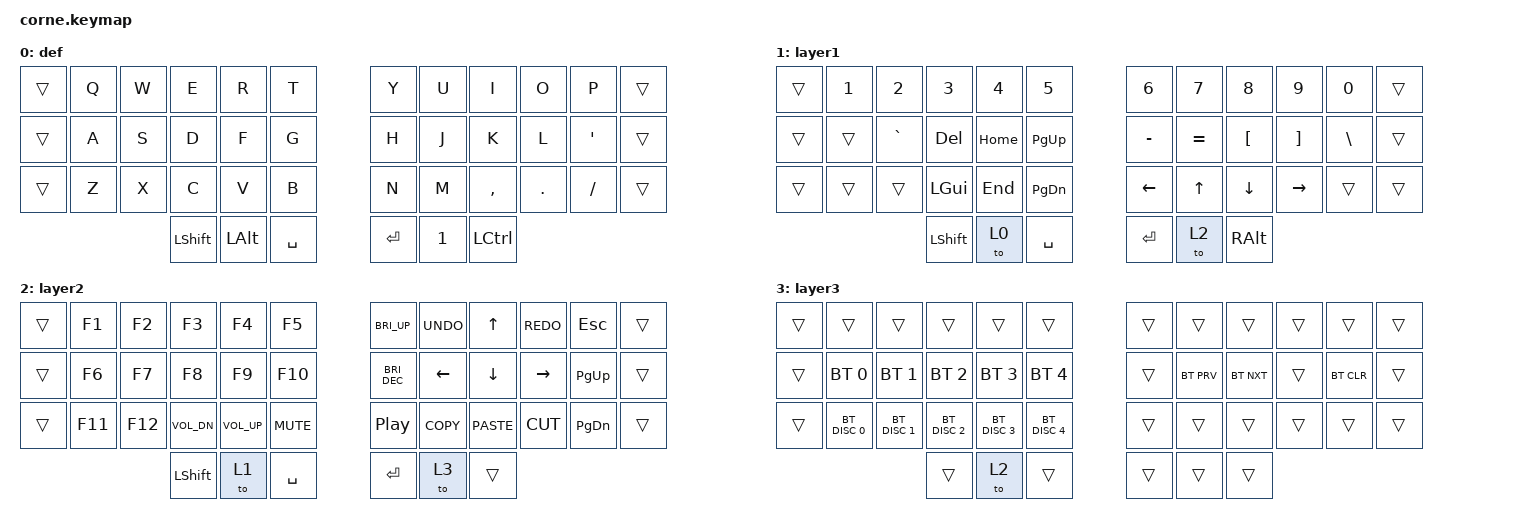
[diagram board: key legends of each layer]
/*
 * Copyright (c) 2020 The ZMK Contributors
 *
 * SPDX-License-Identifier: MIT
 */

#include <behaviors.dtsi>
#include <dt-bindings/zmk/bt.h>
#include <dt-bindings/zmk/keys.h>

/ {
    combos {
        compatible = "zmk,combos";

        esc {
            bindings = <&kp ESCAPE>;
            key-positions = <1 2>;
        };

        trab {
            bindings = <&kp TAB>;
            key-positions = <13 14>;
        };

        back {
            bindings = <&kp BACKSPACE>;
            key-positions = <9 10>;
        };
    };

    keymap {
        compatible = "zmk,keymap";

        def {
            // -----------------------------------------------------------------------------------------
            // |  TAB |  Q  |  W  |  E  |  R  |  T  |   |  Y  |  U   |  I  |  O  |  P  | BKSP |
            // | CTRL |  A  |  S  |  D  |  F  |  G  |   |  H  |  J   |  K  |  L  |  ;  |  '   |
            // | SHFT |  Z  |  X  |  C  |  V  |  B  |   |  N  |  M   |  ,  |  .  |  /  | ESC  |
            //                    | GUI | LWR | SPC |   | ENT | RSE  | ALT |

            bindings = <
&trans  &kp Q  &kp W  &kp E           &kp R         &kp T        &kp Y    &kp U         &kp I             &kp O    &kp P     &trans
&trans  &kp A  &kp S  &kp D           &kp F         &kp G        &kp H    &kp J         &kp K             &kp L    &kp APOS  &trans
&trans  &kp Z  &kp X  &kp C           &kp V         &kp B        &kp N    &kp M         &kp COMMA         &kp DOT  &kp FSLH  &trans
                      &kp LEFT_SHIFT  &kp LEFT_ALT  &kp SPACE    &kp RET  &kp NUMBER_1  &kp LEFT_CONTROL
            >;
        };

        layer1 {
            // -----------------------------------------------------------------------------------------
            // |  TAB |  !  |  @  |  #  |  $  |  %  |   |  ^  |  &  |  *  |  (  |  )  | BKSP |
            // | CTRL |     |     |     |     |     |   |  -  |  =  |  [  |  ]  |  \  |  `   |
            // | SHFT |     |     |     |     |     |   |  _  |  +  |  {  |  }  | "|" |  ~   |
            //                    | GUI |     | SPC |   | ENT |     | ALT |

            bindings = <
&trans  &kp N1  &kp N2     &kp N3          &kp N4    &kp N5       &kp N6     &kp N7     &kp N8    &kp N9     &kp N0    &trans
&trans  &trans  &kp GRAVE  &kp DELETE      &kp HOME  &kp PG_UP    &kp MINUS  &kp EQUAL  &kp LBKT  &kp RBKT   &kp BSLH  &trans
&trans  &trans  &trans     &kp LEFT_GUI    &kp END   &kp PG_DN    &kp LEFT   &kp UP     &kp DOWN  &kp RIGHT  &trans    &trans
                           &kp LEFT_SHIFT  &to 0     &kp SPACE    &kp RET    &to 2      &kp RALT
            >;
        };

        layer2 {
            bindings = <
&trans  &kp F1   &kp F2   &kp F3          &kp F4           &kp F5        &kp C_BRI_UP          &kp K_UNDO  &kp UP       &kp K_REDO  &kp ESCAPE     &trans
&trans  &kp F6   &kp F7   &kp F8          &kp F9           &kp F10       &kp C_BRIGHTNESS_DEC  &kp LEFT    &kp DOWN     &kp RIGHT   &kp PAGE_UP    &trans
&trans  &kp F11  &kp F12  &kp C_VOL_DN    &kp C_VOLUME_UP  &kp C_MUTE    &kp C_PP              &kp K_COPY  &kp K_PASTE  &kp K_CUT   &kp PAGE_DOWN  &trans
                          &kp LEFT_SHIFT  &to 1            &kp SPACE     &kp ENTER             &to 3       &trans
            >;
        };

        layer3 {
            bindings = <
&trans  &trans         &trans         &trans         &trans         &trans           &trans  &trans      &trans      &trans  &trans      &trans
&trans  &bt BT_SEL 0   &bt BT_SEL 1   &bt BT_SEL 2   &bt BT_SEL 3   &bt BT_SEL 4     &trans  &bt BT_PRV  &bt BT_NXT  &trans  &bt BT_CLR  &trans
&trans  &bt BT_DISC 0  &bt BT_DISC 1  &bt BT_DISC 2  &bt BT_DISC 3  &bt BT_DISC 4    &trans  &trans      &trans      &trans  &trans      &trans
                                      &trans         &to 2          &trans           &trans  &trans      &trans
            >;
        };
    };
};
